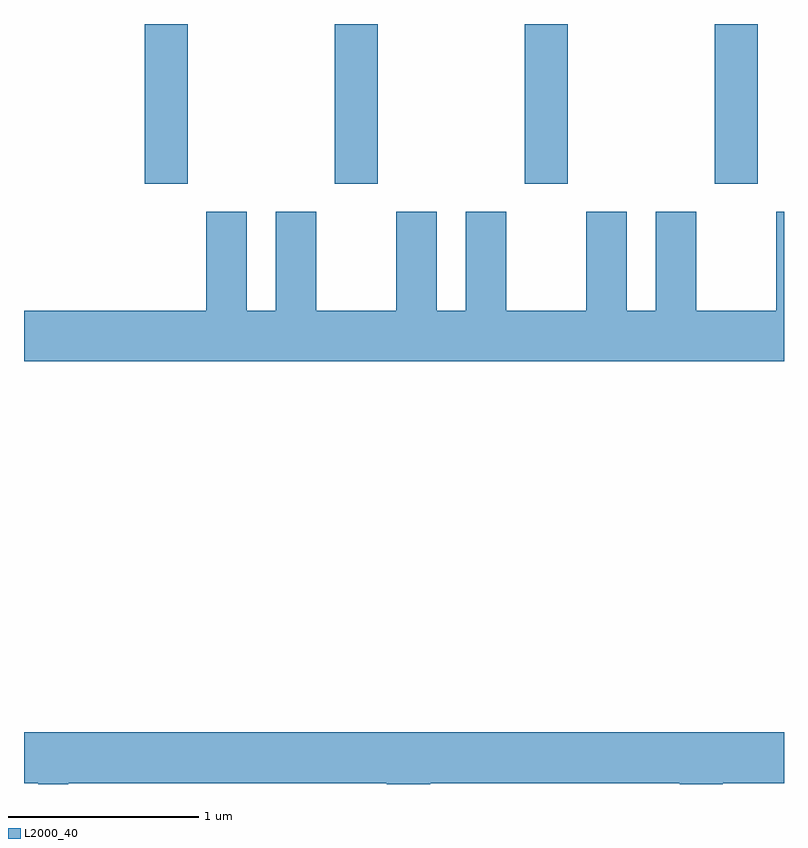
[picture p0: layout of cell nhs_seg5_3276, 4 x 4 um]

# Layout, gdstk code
import gdstk
lib = gdstk.Library(unit=1e-6, precision=1e-09)
def R(c, l, rs):  # rectangles x0, y0, x1, y1
    for r in rs: c.add(gdstk.rectangle(r[:2], r[2:], *l))
def A(c, l, x, y, w, h, nx, ny, dx, dy):  # array of equal rectangles
    R(c, l, [(x+i*dx, y+j*dy, x+i*dx+w, y+j*dy+h) for i in range(nx) for j in range(ny)])
def P(c, l, *ps):  # polygons
    for p in ps: c.add(gdstk.Polygon(p, *l))
L2000_40 = (2000, 40)

nhs_seg5_3276 = lib.new_cell('nhs_seg5_3276')
A(nhs_seg5_3276, L2000_40, 282.246, 1513.231, 0.228, 0.841, 4, 1, 1, 0)
P(nhs_seg5_3276, L2000_40, [(285.611,1513.084),(285.571,1513.084),(285.571,1512.564),(285.149,1512.564),(285.149,1513.084),(284.936,1513.084),(284.936,1512.564),(284.784,1512.564),(284.784,1513.084),(284.571,1513.084),(284.571,1512.564),(284.149,1512.564),(284.149,1513.084),(283.936,1513.084),(283.936,1512.564),(283.784,1512.564),(283.784,1513.084),(283.571,1513.084),(283.571,1512.564),(283.149,1512.564),(283.149,1513.084),(282.936,1513.084),(282.936,1512.564),(282.784,1512.564),(282.784,1513.084),(282.571,1513.084),(282.571,1512.564),(281.611,1512.564),(281.611,1512.296),(285.611,1512.296)],
  [(281.844,1510.076),(283.521,1510.076),(283.521,1510.072),(283.749,1510.072),(283.749,1510.076),(285.061,1510.076),(285.061,1510.072),(285.289,1510.072),(285.289,1510.076),(285.611,1510.076),(285.611,1510.344),(281.611,1510.344),(281.611,1510.076),(281.686,1510.076),(281.686,1510.072),(281.844,1510.072)])

lib.write_gds('nhs_seg5_3276.gds')
